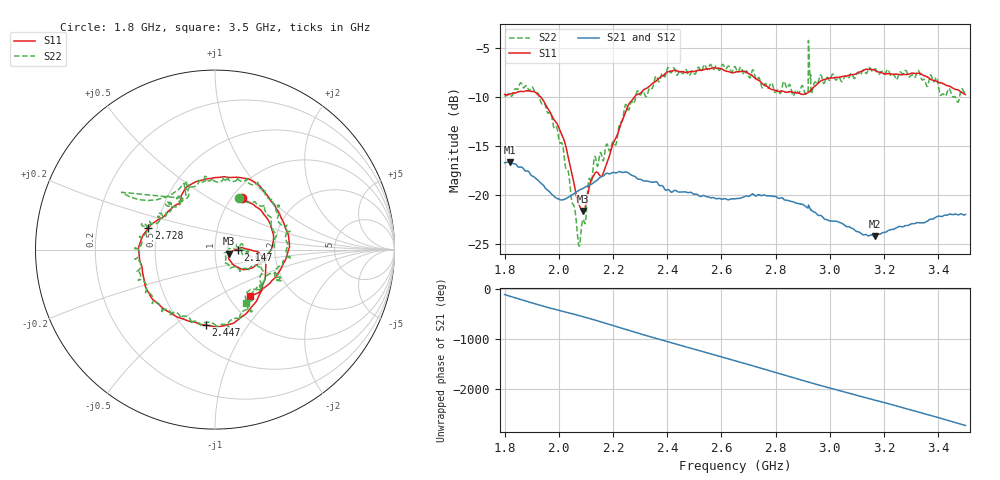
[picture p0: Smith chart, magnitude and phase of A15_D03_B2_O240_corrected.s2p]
! Created with skrf 1.9.0 (http://scikit-rf.org).
# Hz S RI R 50.0
!freq ReS11 ImS11 ReS21 ImS21 ReS12 ImS12 ReS22 ImS22
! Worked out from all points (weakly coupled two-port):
!   1601 points, 1.8 GHz to 3.5 GHz, reference 50 ohm
!   highest |S21| = -16.65 dB at 1.818 GHz (marker M1); lowest = -24.2 dB at 3.165 GHz (marker M2)
!   lowest |S11| = -21.6 dB at 2.09 GHz (marker M3), VSWR 1.18, Z = 58.6 - j2.75 ohm
!   |S11| at or under -10 dB: 1.932 GHz to 2.28 GHz (347.7 MHz wide, 16.5 % of centre)
!   |S22| runs from -25.2 to -4.3 dB; largest |S21 - S12| = 0.0026
!   S11 on the Smith chart (normalised r, x): 1.8 GHz: 1.12, +0.72; 2.147 GHz: 1.29, -0.01; 2.447 GHz: 0.64, -0.65; 2.728 GHz: 0.45, +0.13; 3.5 GHz: 1.24, -0.72
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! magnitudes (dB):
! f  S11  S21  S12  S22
! 1.8 GHz  -9.8  -16.7  -16.7  -9.9
! 1.818 GHz  -9.8  -16.7  -16.7  -9.7
! 1.903 GHz  -9.5  -18.1  -18.1  -9.0
! 1.968 GHz  -11.6  -19.7  -19.8  -11.6
! 2.014 GHz  -14.0  -20.5  -20.5  -14.9
! 2.072 GHz  -20.8  -19.6  -19.6  -24.9
! 2.084 GHz  -21.5  -19.4  -19.4  -23.2
! 2.09 GHz  -21.6  -19.3  -19.4  -22.5
! 2.113 GHz  -19.0  -19.0  -19.0  -18.3
! 2.147 GHz  -17.9  -18.3  -18.3  -16.5
! 2.209 GHz  -14.3  -17.8  -17.7  -14.9
! 2.26 GHz  -10.7  -17.8  -17.8  -11.2
! 2.367 GHz  -8.2  -18.9  -18.9  -8.4
! 2.447 GHz  -7.5  -19.7  -19.7  -7.3
! 2.65 GHz  -7.5  -20.4  -20.4  -6.9
! 2.728 GHz  -8.2  -20.1  -20.1  -8.2
! 2.81 GHz  -9.5  -20.3  -20.2  -9.4
! 2.934 GHz  -9.2  -21.6  -21.6  -9.6
! 3.165 GHz  -7.3  -24.2  -24.2  -7.2
! 3.217 GHz  -7.7  -23.6  -23.6  -7.4
! 3.469 GHz  -9.3  -22.0  -22.0  -10.4
! 3.5 GHz  -9.8  -22.0  -22.0  -9.3
